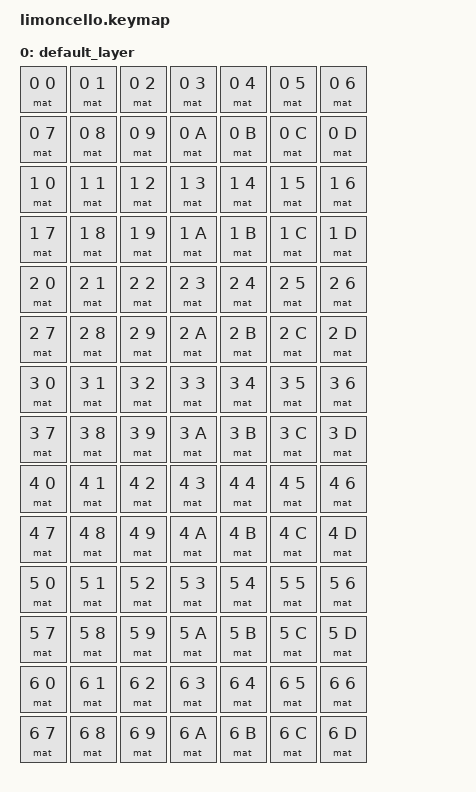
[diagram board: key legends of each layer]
#include <behaviors.dtsi>
#include <dt-bindings/zmk/keys.h>

/ {

    macros {
        mat: mat {
            compatible = "zmk,behavior-macro-two-param";
            #binding-cells = <2>;
            bindings = <&kp EXCL>, <&macro_param_1to1>, <&kp MACRO_PLACEHOLDER>, <&kp COMMA>, <&macro_param_2to1>, <&kp MACRO_PLACEHOLDER>, <&kp SPACE>;
        };
    };
        keymap {
                compatible = "zmk,keymap";

                default_layer {
                        bindings = <
                        &mat N0 N0 &mat N0 N1 &mat N0 N2 &mat N0 N3 &mat N0 N4 &mat N0 N5 &mat N0 N6
                        &mat N0 N7 &mat N0 N8 &mat N0 N9 &mat N0 A &mat N0 B &mat N0 C &mat N0 D
                        &mat N1 N0 &mat N1 N1 &mat N1 N2 &mat N1 N3 &mat N1 N4 &mat N1 N5 &mat N1 N6
                        &mat N1 N7 &mat N1 N8 &mat N1 N9 &mat N1 A &mat N1 B &mat N1 C &mat N1 D
                        &mat N2 N0 &mat N2 N1 &mat N2 N2 &mat N2 N3 &mat N2 N4 &mat N2 N5 &mat N2 N6
                        &mat N2 N7 &mat N2 N8 &mat N2 N9 &mat N2 A &mat N2 B &mat N2 C &mat N2 D
                        &mat N3 N0 &mat N3 N1 &mat N3 N2 &mat N3 N3 &mat N3 N4 &mat N3 N5 &mat N3 N6
                        &mat N3 N7 &mat N3 N8 &mat N3 N9 &mat N3 A &mat N3 B &mat N3 C &mat N3 D
                        &mat N4 N0 &mat N4 N1 &mat N4 N2 &mat N4 N3 &mat N4 N4 &mat N4 N5 &mat N4 N6
                        &mat N4 N7 &mat N4 N8 &mat N4 N9 &mat N4 A &mat N4 B &mat N4 C &mat N4 D
                        &mat N5 N0 &mat N5 N1 &mat N5 N2 &mat N5 N3 &mat N5 N4 &mat N5 N5 &mat N5 N6
                        &mat N5 N7 &mat N5 N8 &mat N5 N9 &mat N5 A &mat N5 B &mat N5 C &mat N5 D
                        &mat N6 N0 &mat N6 N1 &mat N6 N2 &mat N6 N3 &mat N6 N4 &mat N6 N5 &mat N6 N6
                        &mat N6 N7 &mat N6 N8 &mat N6 N9 &mat N6 A &mat N6 B &mat N6 C &mat N6 D
                        >;
                };
        };
};
/* #include <behaviors.dtsi> */
/* #include <dt-bindings/zmk/keys.h> */
/* #include <dt-bindings/zmk/bt.h> */
/* #include <dt-bindings/zmk/outputs.h> */
/**/
/* #define BASE 0 */
/* #define NAV  1 */
/* #define SYM  2 */
/* #define ADJ  3 */
/**/
/* &mt { */
/*   quick-tap-ms = <100>; */
/*   global-quick-tap; */
/*   flavor = "tap-preferred"; */
/*   tapping-term-ms = <170>; */
/* }; */
/**/
/* / { */
/*     combos { */
/*             compatible = "zmk,combos"; */
/*             combo_esc { */
/*                 timeout-ms = <50>; */
/*                 key-positions = <0 1>; */
/*                 bindings = <&kp ESC>; */
/*             }; */
/*     }; */
/**/
/*     macros { */
/*         gif: gif { */
/*             label = "giphy"; */
/*             compatible = "zmk,behavior-macro"; */
/*             #binding-cells = <0>; */
/*             bindings */
/*                 = <&macro_press &kp LSHFT> */
/*                 , <&macro_tap &kp N2> */
/*                 , <&macro_release &kp LSHFT> */
/*                 , <&macro_tap &kp G &kp I &kp F> */
/*                 ; */
/*         }; */
/*     }; */
/**/
/*         keymap { */
/*                 compatible = "zmk,keymap"; */
/* // ▄▄▄▄▄▄▄▄▄▄▄▄▄▄▄▄▄▄▄▄▄▄▄▄▄▄▄▄▄▄▄▄▄▄▄▄▄▄▄▄▄▄▄▄▄▄▄▄▄▄▄▄▄▄▄▄▄▄▄▄▄▄▄▄▄▄▄▄▄▄▄▄▄▄▄▄▄▄▄▄▄▄▄▄▄▄▄▄▄▄▄▄▄▄▄▄▄▄▄▄▄▄▄▄▄▄▄▄▄▄▄▄▄▄▄▄▄▄▄▄▄▄▄▄▄▄▄▄▄▄▄▄▄▄▄▄▄▄▄▄▄▄▄▄▄▄▄▄▄ */
/**/
/*                 base_layer { */
/* // ┏━━━━━━━━━━━━━━━━━━━━━━━━━━━━━━━━━━━━━━━┓ */
/* label= "BASE"                              ; */
/* // ┗━━━━━━━━━━━━━━━━━━━━━━━━━━━━━━━━━━━━━━━┛ */
/* //             ┏━━━━━━━━━━━┳━━━━━━━━━━━┳━━━━━━━━━━━┳━━━━━━━━━━━┳━━━━━━━━━━━┓   ┏━━━━━━━━━━━┳━━━━━━━━━━━┳━━━━━━━━━━━┳━━━━━━━━━━━┳━━━━━━━━━━━┓ */
/* //             ┃     Q     ┃     W     ┃     F     ┃     P     ┃     G     ┃   ┃     J     ┃     L     ┃     U     ┃     Y     ┃     ;     ┃ */
/* //             ┣━━━━━━━━━━━╋━━━━━━━━━━━╋━━━━━━━━━━━╋━━━━━━━━━━━╋━━━━━━━━━━━┫   ┣━━━━━━━━━━━╋━━━━━━━━━━━╋━━━━━━━━━━━╋━━━━━━━━━━━╋━━━━━━━━━━━┫ */
/* //             ┃     A     ┃     R     ┃     S     ┃     T     ┃     D     ┃   ┃     H     ┃     N     ┃     E     ┃     I     ┃     O     ┃ */
/* // ┏━━━━━━━━━━━╋━━━━━━━━━━━╋━━━━━━━━━━━╋━━━━━━━━━━━╋━━━━━━━━━━━╋━━━━━━━━━━━┫   ┣━━━━━━━━━━━╋━━━━━━━━━━━╋━━━━━━━━━━━╋━━━━━━━━━━━╋━━━━━━━━━━━╋━━━━━━━━━━━┓ */
/* // ┃           ┃     Z     ┃     X     ┃     C     ┃     V     ┃     B     ┃   ┃     K     ┃     M     ┃     ,     ┃     .     ┃     /     ┃           ┃ */
/* // ┗━━━━━━━━━━━┻━━━━━━━━━━━┻━━━━━━━━━━━╋━━━━━━━━━━━╋━━━━━━━━━━━╋━━━━━━━━━━━┫   ┣━━━━━━━━━━━╋━━━━━━━━━━━╋━━━━━━━━━━━╋━━━━━━━━━━━┻━━━━━━━━━━━┻━━━━━━━━━━━┛ */
/* //                                     ┃           ┃    TAB    ┃    SPC    ┃   ┃   ENTER   ┃   BSPC    ┃           ┃ */
/* //                                     ┗━━━━━━━━━━━┻━━━━━━━━━━━┻━━━━━━━━━━━┛   ┗━━━━━━━━━━━┻━━━━━━━━━━━┻━━━━━━━━━━━┛ */
/*  bindings = < */
/* // ╷           ╷           ╷           ╷           ╷           ╷           ╷   ╷           ╷           ╷           ╷           ╷           ╷           ╷ */
/**/
/*                 &kp Q       &kp W       &kp F       &kp P       &kp G           &kp J       &kp L       &kp U       &kp Y       &kp SEMI */
/*                 &mt LGUI A  &mt LALT R  &mt LCTRL S &mt LSHFT T &kp D           &kp H       &mt RSHFT N &mt RCTRL E &mt RALT I  &mt RGUI O */
/*     &kp Z       &kp Z       &kp X       &kp C       &kp V       &kp B           &kp K       &kp M       &kp COMMA   &kp DOT     &kp FSLH    &kp FSLH */
/*                                         &kp TAB     &kp TAB     &lt NAV SPACE   &lt SYM RET &kp BSPC    &kp BSPC */
/*                         >; */
/*                 }; */
/**/
/* // ▄▄▄▄▄▄▄▄▄▄▄▄▄▄▄▄▄▄▄▄▄▄▄▄▄▄▄▄▄▄▄▄▄▄▄▄▄▄▄▄▄▄▄▄▄▄▄▄▄▄▄▄▄▄▄▄▄▄▄▄▄▄▄▄▄▄▄▄▄▄▄▄▄▄▄▄▄▄▄▄▄▄▄▄▄▄▄▄▄▄▄▄▄▄▄▄▄▄▄▄▄▄▄▄▄▄▄▄▄▄▄▄▄▄▄▄▄▄▄▄▄▄▄▄▄▄▄▄▄▄▄▄▄▄▄▄▄▄▄▄▄▄▄▄▄▄▄▄▄ */
/**/
/**/
/*                 nav_layer { */
/* // ┏━━━━━━━━━━━━━━━━━━━━━━━━━━━━━━━━━━━━━━━┓ */
/* label= "NAVI"                              ; */
/* // ┗━━━━━━━━━━━━━━━━━━━━━━━━━━━━━━━━━━━━━━━┛ */
/* //             ┏━━━━━━━━━━━┳━━━━━━━━━━━┳━━━━━━━━━━━┳━━━━━━━━━━━┳━━━━━━━━━━━┓   ┏━━━━━━━━━━━┳━━━━━━━━━━━┳━━━━━━━━━━━┳━━━━━━━━━━━┳━━━━━━━━━━━┓ */
/* //             ┃           ┃           ┃     UP    ┃           ┃     {     ┃   ┃     }     ┃     7     ┃     8     ┃     9     ┃     +     ┃ */
/* //             ┣━━━━━━━━━━━╋━━━━━━━━━━━╋━━━━━━━━━━━╋━━━━━━━━━━━╋━━━━━━━━━━━┫   ┣━━━━━━━━━━━╋━━━━━━━━━━━╋━━━━━━━━━━━╋━━━━━━━━━━━╋━━━━━━━━━━━┫ */
/* //             ┃   SHIFT   ┃   LEFT    ┃    DOWN   ┃   RIGHT   ┃     [     ┃   ┃     ]     ┃     4     ┃     5     ┃     6     ┃     -     ┃ */
/* // ┏━━━━━━━━━━━╋━━━━━━━━━━━╋━━━━━━━━━━━╋━━━━━━━━━━━╋━━━━━━━━━━━╋━━━━━━━━━━━┫   ┣━━━━━━━━━━━╋━━━━━━━━━━━╋━━━━━━━━━━━╋━━━━━━━━━━━╋━━━━━━━━━━━╋━━━━━━━━━━━┓ */
/* // ┃           ┃           ┃   P UP    ┃  C LOCK   ┃  P DOWN   ┃     (     ┃   ┃     )     ┃     1     ┃     2     ┃     3     ┃     *     ┃           ┃ */
/* // ┗━━━━━━━━━━━┻━━━━━━━━━━━┻━━━━━━━━━━━╋━━━━━━━━━━━╋━━━━━━━━━━━╋━━━━━━━━━━━┫   ┣━━━━━━━━━━━╋━━━━━━━━━━━╋━━━━━━━━━━━╋━━━━━━━━━━━┻━━━━━━━━━━━┻━━━━━━━━━━━┛ */
/* //                                     ┃           ┃    TAB    ┃    SPC    ┃   ┃    DEL    ┃     0     ┃           ┃ */
/* //                                     ┗━━━━━━━━━━━┻━━━━━━━━━━━┻━━━━━━━━━━━┛   ┗━━━━━━━━━━━┻━━━━━━━━━━━┻━━━━━━━━━━━┛ */
/*  bindings = < */
/* // ╷           ╷           ╷           ╷           ╷           ╷           ╷   ╷           ╷           ╷           ╷           ╷           ╷           ╷ */
/**/
/*                 &kp ESC     &bt BT_CLR  &kp UP      &kp EQUAL   &kp LBRC        &kp RBRC    &kp KP_N7   &kp KP_N8   &kp KP_N9   &kp KP_PLUS */
/*                 &kp LSHFT   &kp LEFT    &kp DOWN    &kp RIGHT   &kp LBKT        &kp RBKT    &kp KP_N4   &kp KP_N5   &kp KP_N6   &kp KP_MINUS */
/*     &trans      &kp DEL     &kp PG_UP   &kp CAPS    &kp PG_DN   &kp LPAR        &kp RPAR    &kp KP_N1   &kp KP_N2   &kp KP_N3   &kp KP_MULTIPLY &trans       */
/*                                         &trans      &trans      &trans          &mo ADJ     &kp KP_N0   &trans       */
/*                         >; */
/*                 }; */
/**/
/* // ▄▄▄▄▄▄▄▄▄▄▄▄▄▄▄▄▄▄▄▄▄▄▄▄▄▄▄▄▄▄▄▄▄▄▄▄▄▄▄▄▄▄▄▄▄▄▄▄▄▄▄▄▄▄▄▄▄▄▄▄▄▄▄▄▄▄▄▄▄▄▄▄▄▄▄▄▄▄▄▄▄▄▄▄▄▄▄▄▄▄▄▄▄▄▄▄▄▄▄▄▄▄▄▄▄▄▄▄▄▄▄▄▄▄▄▄▄▄▄▄▄▄▄▄▄▄▄▄▄▄▄▄▄▄▄▄▄▄▄▄▄▄▄▄▄▄▄▄▄ */
/**/
/**/
/*                 sim_layer { */
/* // ┏━━━━━━━━━━━━━━━━━━━━━━━━━━━━━━━━━━━━━━━┓ */
/* label= "SYM"                               ; */
/* // ┗━━━━━━━━━━━━━━━━━━━━━━━━━━━━━━━━━━━━━━━┛ */
/* //             ┏━━━━━━━━━━━┳━━━━━━━━━━━┳━━━━━━━━━━━┳━━━━━━━━━━━┳━━━━━━━━━━━┓   ┏━━━━━━━━━━━┳━━━━━━━━━━━┳━━━━━━━━━━━┳━━━━━━━━━━━┳━━━━━━━━━━━┓ */
/* //             ┃     !     ┃     @     ┃     #     ┃     $     ┃     %     ┃   ┃     ˆ     ┃     &     ┃     Ü     ┃     '     ┃     "     ┃ */
/* //             ┣━━━━━━━━━━━╋━━━━━━━━━━━╋━━━━━━━━━━━╋━━━━━━━━━━━╋━━━━━━━━━━━┫   ┣━━━━━━━━━━━╋━━━━━━━━━━━╋━━━━━━━━━━━╋━━━━━━━━━━━╋━━━━━━━━━━━┫ */
/* //             ┃     Ä     ┃           ┃    SZ     ┃           ┃           ┃   ┃   MUTE    ┃   YEN     ┃   EURO    ┃  POUND    ┃     Ö     ┃ */
/* // ┏━━━━━━━━━━━╋━━━━━━━━━━━╋━━━━━━━━━━━╋━━━━━━━━━━━╋━━━━━━━━━━━╋━━━━━━━━━━━┫   ┣━━━━━━━━━━━╋━━━━━━━━━━━╋━━━━━━━━━━━╋━━━━━━━━━━━╋━━━━━━━━━━━╋━━━━━━━━━━━┓ */
/* // ┃           ┃  EMAIL1   ┃  EMAIL2   ┃           ┃           ┃           ┃   ┃   VOL-    ┃   VOL+    ┃   LAST    ┃   NEXT    ┃     \     ┃           ┃ */
/* // ┗━━━━━━━━━━━┻━━━━━━━━━━━┻━━━━━━━━━━━╋━━━━━━━━━━━╋━━━━━━━━━━━╋━━━━━━━━━━━┫   ┣━━━━━━━━━━━╋━━━━━━━━━━━╋━━━━━━━━━━━╋━━━━━━━━━━━┻━━━━━━━━━━━┻━━━━━━━━━━━┛ */
/* //                                     ┃           ┃    GIF    ┃    ADJ    ┃   ┃           ┃           ┃           ┃ */
/* //                                     ┗━━━━━━━━━━━┻━━━━━━━━━━━┻━━━━━━━━━━━┛   ┗━━━━━━━━━━━┻━━━━━━━━━━━┻━━━━━━━━━━━┛ */
/*  bindings = < */
/* // ╷           ╷           ╷           ╷           ╷           ╷           ╷   ╷           ╷           ╷           ╷           ╷           ╷           ╷ */
/**/
/*                 &kp EXCL    &kp AT      &kp HASH    &kp DLLR    &kp PRCNT       &kp CARET   &kp AMPS    &kp RA(U)   &kp SQT     &kp DQT        */
/*                 &kp RA(A)   &trans      &kp RA(S)   &trans      &trans          &kp C_MUTE  &kp LS(RA(N4)) &kp RA(N5) &kp RA(N4)   &kp RA(O)  */
/*     &trans      &kp RA(F18) &kp RA(F19) &trans      &trans      &trans          &kp C_VOL_DN &kp C_VOL_UP &kp C_PREV &kp C_NEXT  &kp BSLH   &trans          */
/*                                         &trans      &gif        &mo ADJ         &trans      &kp C_PP    &trans       */
/*                         >; */
/*                 }; */
/**/
/* // ▄▄▄▄▄▄▄▄▄▄▄▄▄▄▄▄▄▄▄▄▄▄▄▄▄▄▄▄▄▄▄▄▄▄▄▄▄▄▄▄▄▄▄▄▄▄▄▄▄▄▄▄▄▄▄▄▄▄▄▄▄▄▄▄▄▄▄▄▄▄▄▄▄▄▄▄▄▄▄▄▄▄▄▄▄▄▄▄▄▄▄▄▄▄▄▄▄▄▄▄▄▄▄▄▄▄▄▄▄▄▄▄▄▄▄▄▄▄▄▄▄▄▄▄▄▄▄▄▄▄▄▄▄▄▄▄▄▄▄▄▄▄▄▄▄▄▄▄▄ */
/**/
/**/
/*                 adjust_layer { */
/* // ┏━━━━━━━━━━━━━━━━━━━━━━━━━━━━━━━━━━━━━━━┓ */
/* label= "ADJ"                               ; */
/* // ┗━━━━━━━━━━━━━━━━━━━━━━━━━━━━━━━━━━━━━━━┛ */
/* //             ┏━━━━━━━━━━━┳━━━━━━━━━━━┳━━━━━━━━━━━┳━━━━━━━━━━━┳━━━━━━━━━━━┓   ┏━━━━━━━━━━━┳━━━━━━━━━━━┳━━━━━━━━━━━┳━━━━━━━━━━━┳━━━━━━━━━━━┓ */
/* //             ┃   RESET   ┃ BT CLEAR  ┃  OUT TOG  ┃           ┃           ┃   ┃           ┃    F7     ┃    F8     ┃    F9     ┃    F12    ┃ */
/* //             ┣━━━━━━━━━━━╋━━━━━━━━━━━╋━━━━━━━━━━━╋━━━━━━━━━━━╋━━━━━━━━━━━┫   ┣━━━━━━━━━━━╋━━━━━━━━━━━╋━━━━━━━━━━━╋━━━━━━━━━━━╋━━━━━━━━━━━┫ */
/* //             ┃ BOOTLOAD  ┃ BT NEXT   ┃           ┃           ┃           ┃   ┃           ┃    F4     ┃    F5     ┃    F6     ┃    F11    ┃ */
/* // ┏━━━━━━━━━━━╋━━━━━━━━━━━╋━━━━━━━━━━━╋━━━━━━━━━━━╋━━━━━━━━━━━╋━━━━━━━━━━━┫   ┣━━━━━━━━━━━╋━━━━━━━━━━━╋━━━━━━━━━━━╋━━━━━━━━━━━╋━━━━━━━━━━━╋━━━━━━━━━━━┓ */
/* // ┃           ┃           ┃ BT PREV   ┃           ┃           ┃           ┃   ┃           ┃    F1     ┃    F2     ┃    F3     ┃    F10    ┃           ┃ */
/* // ┗━━━━━━━━━━━┻━━━━━━━━━━━┻━━━━━━━━━━━╋━━━━━━━━━━━╋━━━━━━━━━━━╋━━━━━━━━━━━┫   ┣━━━━━━━━━━━╋━━━━━━━━━━━╋━━━━━━━━━━━╋━━━━━━━━━━━┻━━━━━━━━━━━┻━━━━━━━━━━━┛ */
/* //                                     ┃           ┃           ┃           ┃   ┃           ┃           ┃           ┃ */
/* //                                     ┗━━━━━━━━━━━┻━━━━━━━━━━━┻━━━━━━━━━━━┛   ┗━━━━━━━━━━━┻━━━━━━━━━━━┻━━━━━━━━━━━┛ */
/*  bindings = < */
/* // ╷           ╷           ╷           ╷           ╷           ╷           ╷   ╷           ╷           ╷           ╷           ╷           ╷           ╷ */
/**/
/*                 &reset      &bt BT_CLR &out OUT_TOG &trans      &trans          &trans      &kp F7      &kp F8      &kp F9      &kp F12 */
/*                 &bootloader &bt BT_NXT  &trans      &trans      &trans          &trans      &kp F4      &kp F5      &kp F6      &kp F11   */
/*     &trans      &trans      &bt BT_PRV  &trans      &trans      &trans          &trans      &kp F1      &kp F2      &kp F3      &kp F10     &trans          */
/*                                         &trans      &trans      &trans          &trans      &trans      &trans       */
/*                         >; */
/*                 }; */
/*         }; */
/* }; */
